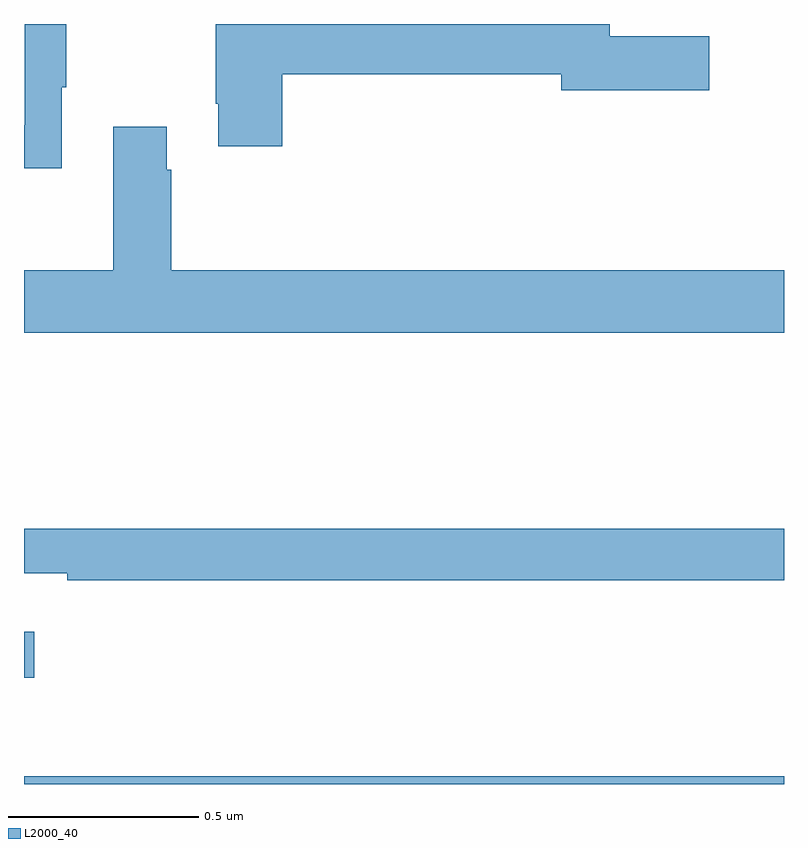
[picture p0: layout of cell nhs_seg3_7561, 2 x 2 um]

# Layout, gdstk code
import gdstk
lib = gdstk.Library(unit=1e-6, precision=1e-09)
def R(c, l, rs):  # rectangles x0, y0, x1, y1
    for r in rs: c.add(gdstk.rectangle(r[:2], r[2:], *l))
def P(c, l, *ps):  # polygons
    for p in ps: c.add(gdstk.Polygon(p, *l))
L2000_40 = (2000, 40)

nhs_seg3_7561 = lib.new_cell('nhs_seg3_7561')
R(nhs_seg3_7561, L2000_40, [(205,694.4,207,694.42), (205,694.679,205.027,694.801)])
P(nhs_seg3_7561, L2000_40, [(205.099,696.233),(205.111,696.233),(205.111,696.4),(205.002,696.4),(205.002,696.134),(205,696.134),(205,696.021),(205.099,696.021)],
  [(205.679,696.268),(206.414,696.268),(206.414,696.226),(206.803,696.226),(206.803,696.368),(206.542,696.368),(206.542,696.4),(205.504,696.4),(205.504,696.19),(205.511,696.19),(205.511,696.078),(205.679,696.078)],
  [(207,695.752),(205.388,695.752),(205.388,696.017),(205.375,696.017),(205.375,696.13),(205.235,696.13),(205.235,695.752),(205,695.752),(205,695.588),(207,695.588)],
  [(207,695.072),(205,695.072),(205,694.955),(205.114,694.955),(205.114,694.936),(207,694.936)])

lib.write_gds('nhs_seg3_7561.gds')
